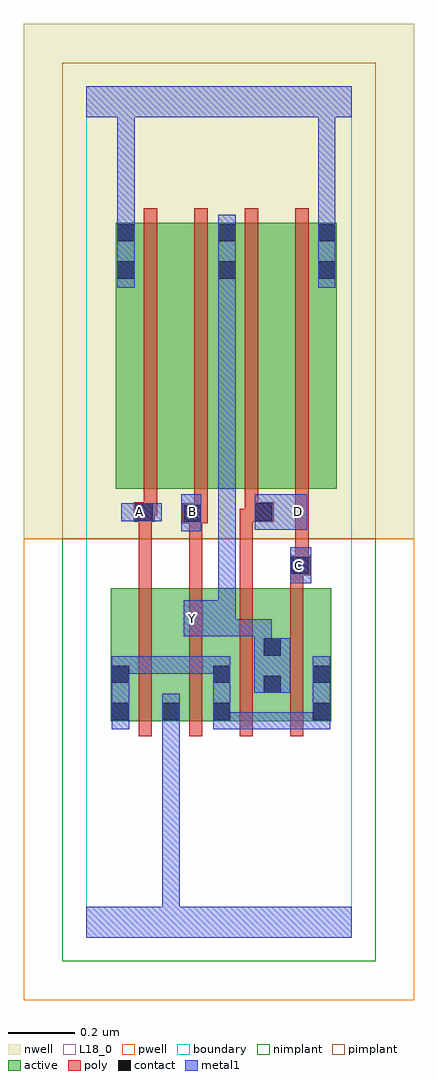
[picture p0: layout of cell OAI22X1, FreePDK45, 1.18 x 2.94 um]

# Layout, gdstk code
import gdstk
lib = gdstk.Library(unit=1e-6, precision=1e-09)
def R(c, l, rs):  # rectangles x0, y0, x1, y1
    for r in rs: c.add(gdstk.rectangle(r[:2], r[2:], *l))
def A(c, l, x, y, w, h, nx, ny, dx, dy):  # array of equal rectangles
    R(c, l, [(x+i*dx, y+j*dy, x+i*dx+w, y+j*dy+h) for i in range(nx) for j in range(ny)])
active = (1, 0)
pwell = (2, 0)
nwell = (3, 0)
nimplant = (4, 0)
pimplant = (5, 0)
poly = (9, 0)
contact = (10, 0)
metal1 = (11, 0)
L18_0 = (18, 0)
boundary = (235, 0)

oai22x1 = lib.new_cell('OAI22X1')
A(oai22x1, active, 0.074, 0.65, 0.06, 0.4, 3, 1, 0.152, 0)
A(oai22x1, active, 0.074, 0.65, 0.212, 0.4, 3, 1, 0.152, 0)
R(oai22x1, active, [(0.53,0.65,0.738,1.05), (0.678,0.65,0.738,1.05), (0.53,0.732,0.59,1.05), (0.09,1.35,0.15,2.15), (0.09,1.35,0.27,2.15), (0.27,1.35,0.454,2.15), (0.394,1.35,0.574,2.15), (0.574,1.35,0.754,2.15), (0.694,1.35,0.754,2.15), (0.394,1.686,0.454,2.15)])
R(oai22x1, pwell, [(-0.188,-0.188,0.988,1.2)])
R(oai22x1, nwell, [(-0.188,1.2,0.988,2.748)])
R(oai22x1, nimplant, [(-0.072,-0.072,0.872,1.2)])
R(oai22x1, pimplant, [(-0.072,1.2,0.872,2.632)])
A(oai22x1, poly, 0.158, 0.606, 0.04, 0.488, 4, 1, 0.152, 0)
A(oai22x1, poly, 0.174, 1.306, 0.04, 0.888, 4, 1, 0.152, 0)
R(oai22x1, poly, [(0.158,1.054,0.198,1.29), (0.31,1.054,0.35,1.286), (0.462,1.054,0.502,1.29), (0.614,1.054,0.654,1.13), (0.614,1.09,0.674,1.15), (0.63,1.11,0.67,1.346), (0.63,1.11,0.67,1.15), (0.63,1.11,0.67,1.15), (0.29,1.246,0.366,1.306), (0.31,1.246,0.35,1.286), (0.31,1.246,0.35,1.286), (0.144,1.25,0.206,1.31), (0.462,1.25,0.518,1.29), (0.478,1.25,0.518,1.29), (0.478,1.25,0.564,1.31), (0.326,1.266,0.366,1.346), (0.166,1.27,0.206,1.31), (0.166,1.27,0.214,1.31), (0.174,1.27,0.214,1.346), (0.478,1.27,0.518,1.346)])
A(oai22x1, contact, 0.078, 0.654, 0.052, 0.052, 3, 1, 0.152, 0)
R(oai22x1, contact, [(0.682,0.654,0.734,0.706), (0.534,0.736,0.586,0.788), (0.078,0.766,0.13,0.818), (0.382,0.766,0.434,0.818), (0.682,0.766,0.734,0.818), (0.534,0.848,0.586,0.9), (0.618,1.094,0.67,1.146), (0.294,1.25,0.346,1.302), (0.148,1.254,0.2,1.306), (0.508,1.254,0.56,1.306), (0.094,1.982,0.146,2.034), (0.398,1.982,0.45,2.034), (0.698,1.982,0.75,2.034), (0.094,2.094,0.146,2.146), (0.398,2.094,0.45,2.146), (0.698,2.094,0.75,2.146)])
R(oai22x1, metal1, [(0,0,0.8,0.092), (0.23,0.04,0.282,0.092), (0.23,0.04,0.282,0.092), (0.23,0.04,0.282,0.092), (0.23,0.04,0.282,0.092), (0.23,0.04,0.282,0.092), (0.23,0.04,0.282,0.092), (0.23,0.04,0.282,0.092), (0.23,0.04,0.282,0.092), (0.23,0.04,0.282,0.678), (0.078,0.626,0.13,0.846), (0.23,0.626,0.282,0.678), (0.23,0.626,0.282,0.678), (0.23,0.626,0.282,0.678), (0.23,0.626,0.282,0.678), (0.23,0.626,0.282,0.734), (0.382,0.626,0.434,0.678), (0.382,0.626,0.434,0.678), (0.382,0.626,0.434,0.846), (0.382,0.626,0.556,0.678), (0.504,0.626,0.556,0.678), (0.504,0.626,0.56,0.678), (0.508,0.626,0.56,0.678), (0.508,0.626,0.734,0.678), (0.682,0.626,0.734,0.678), (0.682,0.626,0.734,0.678), (0.682,0.626,0.734,0.846), (0.506,0.736,0.614,0.9), (0.078,0.794,0.13,0.846), (0.078,0.794,0.13,0.846), (0.078,0.794,0.238,0.846), (0.186,0.794,0.238,0.846), (0.186,0.794,0.434,0.846), (0.382,0.794,0.434,0.846), (0.382,0.794,0.434,0.846), (0.506,0.848,0.558,0.958), (0.294,0.906,0.45,1.014), (0.398,0.906,0.556,0.958), (0.504,0.906,0.556,0.958), (0.504,0.906,0.558,0.958), (0.506,0.906,0.558,0.958), (0.398,0.962,0.45,1.014), (0.398,0.962,0.45,1.014), (0.398,0.962,0.45,2.006), (0.614,1.066,0.678,1.174), (0.286,1.222,0.346,1.334), (0.508,1.226,0.666,1.334), (0.106,1.252,0.228,1.306), (0.094,1.954,0.146,2.174), (0.398,1.954,0.45,2.174), (0.698,1.954,0.75,2.174), (0.094,2.122,0.146,2.52), (0.698,2.122,0.75,2.174), (0.698,2.122,0.75,2.174), (0.698,2.122,0.75,2.52), (0,2.468,0.8,2.56), (0.094,2.468,0.146,2.52), (0.094,2.468,0.146,2.52), (0.094,2.468,0.146,2.52), (0.094,2.468,0.146,2.52), (0.094,2.468,0.146,2.52), (0.094,2.468,0.146,2.52), (0.094,2.468,0.146,2.52), (0.094,2.468,0.146,2.52), (0.698,2.468,0.75,2.52), (0.698,2.468,0.75,2.52), (0.698,2.468,0.75,2.52), (0.698,2.468,0.75,2.52), (0.698,2.468,0.75,2.52), (0.698,2.468,0.75,2.52)])
R(oai22x1, L18_0, [(0,0,0.8,0.092), (0.23,0.04,0.282,0.092), (0.23,0.04,0.282,0.092), (0.23,0.04,0.282,0.092), (0.23,0.04,0.282,0.092), (0.23,0.04,0.282,0.092), (0.23,0.04,0.282,0.092), (0.23,0.04,0.282,0.092), (0.23,0.04,0.282,0.092), (0.23,0.04,0.282,0.678), (0.23,0.626,0.282,0.678), (0.23,0.626,0.282,0.678), (0.23,0.626,0.282,0.678), (0.23,0.626,0.282,0.678), (0.23,0.626,0.282,0.734), (0.506,0.736,0.614,0.9), (0.506,0.848,0.558,0.958), (0.294,0.906,0.45,1.014), (0.398,0.906,0.556,0.958), (0.504,0.906,0.556,0.958), (0.504,0.906,0.558,0.958), (0.506,0.906,0.558,0.958), (0.294,0.934,0.346,0.986), (0.398,0.962,0.45,1.014), (0.398,0.962,0.45,1.014), (0.398,0.962,0.45,2.006), (0.614,1.066,0.678,1.174), (0.614,1.094,0.666,1.146), (0.286,1.222,0.346,1.334), (0.508,1.226,0.666,1.334), (0.106,1.252,0.228,1.306), (0.134,1.254,0.186,1.306), (0.294,1.254,0.346,1.306), (0.614,1.254,0.666,1.306), (0.094,1.954,0.146,2.174), (0.398,1.954,0.45,2.174), (0.698,1.954,0.75,2.174), (0.094,2.122,0.146,2.52), (0.698,2.122,0.75,2.174), (0.698,2.122,0.75,2.174), (0.698,2.122,0.75,2.52), (0,2.468,0.8,2.56), (0.094,2.468,0.146,2.52), (0.094,2.468,0.146,2.52), (0.094,2.468,0.146,2.52), (0.094,2.468,0.146,2.52), (0.094,2.468,0.146,2.52), (0.094,2.468,0.146,2.52), (0.094,2.468,0.146,2.52), (0.094,2.468,0.146,2.52), (0.698,2.468,0.75,2.52), (0.698,2.468,0.75,2.52), (0.698,2.468,0.75,2.52), (0.698,2.468,0.75,2.52), (0.698,2.468,0.75,2.52), (0.698,2.468,0.75,2.52)])
R(oai22x1, boundary, [(0,0,0.8,2.56)])
oai22x1.add(gdstk.Label('A', (0.16,1.28), layer=11, texttype=0))
oai22x1.add(gdstk.Label('B', (0.32,1.28), layer=11, texttype=0))
oai22x1.add(gdstk.Label('C', (0.64,1.12), layer=11, texttype=0))
oai22x1.add(gdstk.Label('D', (0.64,1.28), layer=11, texttype=0))
oai22x1.add(gdstk.Label('Y', (0.32,0.96), layer=11, texttype=0))

lib.write_gds('OAI22X1.gds')
